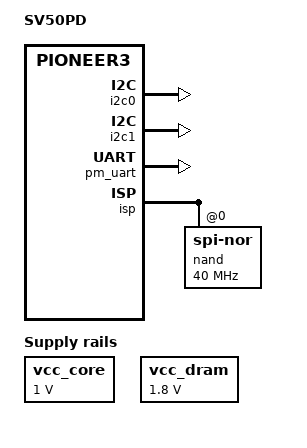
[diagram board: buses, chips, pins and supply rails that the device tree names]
// SPDX-License-Identifier: GPL-2.0
/*
 * Copyright (c) 2019 thingy.jp.
 * Author: Daniel Palmer <daniel@thingy.jp>
 */

/dts-v1/;
#include "mstar-pioneer3-ssd212.dtsi"

/ {
	model = "SV50PD";
	compatible = "sstar,qfn68demo", "sstar,pioneer3";

	aliases {
		serial0 = &pm_uart;
	};

	chosen {
		stdout-path = "serial0:115200n8";
		bootargs = "console=ttyS0,115200 clk_ignore_unused earlyprintk root=/dev/mmcblk0p2 rootwait";
	};

	vcc_core: regulator-vcc-core {
		compatible = "regulator-fixed";
		regulator-name = "vcc_core";
		regulator-min-microvolt = <1000000>;
		regulator-max-microvolt = <1000000>;
		regulator-boot-on;
	};

	vcc_dram: regulator-vcc-dram {
		compatible = "regulator-fixed";
		regulator-name = "vcc_dram";
		regulator-min-microvolt = <1800000>;
		regulator-max-microvolt = <1800000>;
		regulator-boot-on;
	};
};

&cpu0 {
	cpu-supply = <&vcc_core>;
};

&i2c0 {
	pinctrl-names = "default";
	pinctrl-0 = <&i2c0_mode4_pins>;
	status = "okay";
};

&i2c1 {
	pinctrl-names = "default";
	pinctrl-0 = <&i2c1_mode1_pins>;
	status = "okay";
};

&pm_uart {
	status = "okay";
};

&miu {
	ddr-supply = <&vcc_dram>;
};

&isp {
	status = "okay";
	nand@0 {
		#address-cells = <1>;
		#size-cells = <1>;
		compatible = "jedec,spi-nor";
		reg = <0>;
		spi-max-frequency = <40000000>;
		spi-rx-bus-width = <4>;

#if 0
		partitions {
			compatible = "fixed-partitions";
			#address-cells = <1>;
			#size-cells = <1>;
			rescue@1000000 {
				label = "ubi";
				reg = <0x1000000 0x7000000>;
			};
		};
#endif
	};
};

&pinctrl_pm {
	compatible = "sstar,ssd20xd-pm-pinctrl";
};
